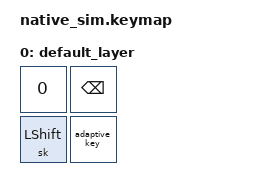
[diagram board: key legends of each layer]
#include <dt-bindings/zmk/keys.h>
#include <behaviors.dtsi>
#include <dt-bindings/zmk/kscan_mock.h>

/ {
    behaviors {
        adaptive_key: adaptive_key {
            compatible = "zmk,behavior-adaptive-key";
            #binding-cells = <0>;
            bindings = <&none>;

            trigger_one {
                trigger-keys = <N0 BSPC>;
                bindings = <&kp A>;
            };
        };
    };

    keymap {
        compatible = "zmk,keymap";
        default_layer {
            bindings = <
                &kp N0 &kp BSPC
                &sk LSHFT &adaptive_key
            >;
        };
    };
};

&kscan {
    events = <
        ZMK_MOCK_PRESS(1,0,10)
        ZMK_MOCK_RELEASE(1,0,10)
        ZMK_MOCK_PRESS(0,1,10)
        ZMK_MOCK_RELEASE(0,1,10)
        ZMK_MOCK_PRESS(1,1,100)
        ZMK_MOCK_RELEASE(1,1,10)
    >;
};
